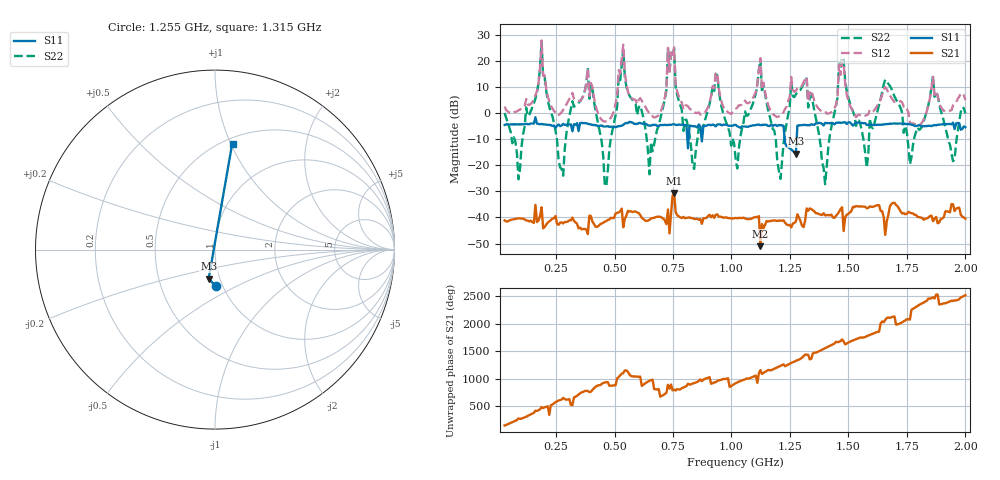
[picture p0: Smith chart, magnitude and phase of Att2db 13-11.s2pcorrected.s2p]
# Hz S DB R 50.000000
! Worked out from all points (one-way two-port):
!   300 points, 30 MHz to 2 GHz, reference 50 ohm
!   highest |S21| = -30.62 dB at 754.7 MHz (marker M1); lowest = -51.0 dB at 1.124 GHz (marker M2)
!   lowest |S11| = -15.6 dB at 1.275 GHz (marker M3), VSWR 1.40, Z = 44.3 - j14.8 ohm
!   |S11| at or under -10 dB: 811.4 MHz to 816.7 MHz (5.301 MHz wide, 0.651 % of centre); 872.3806 MHz to 874.2893 MHz (1.909 MHz wide, 0.219 % of centre); 1.228 GHz to 1.279 GHz (51.07 MHz wide, 4.08 % of centre)
!   |S22| runs from -28.0 to 27.5 dB; largest |S21 - S12| = 25
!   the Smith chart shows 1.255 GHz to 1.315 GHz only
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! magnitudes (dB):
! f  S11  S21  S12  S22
! 30 MHz  -4.5  -41.2  2.5  0.1
! 89.3 MHz  -4.3  -40.4  1.0  -25.4
! 188.1 MHz  -4.2  -36.1  27.9  27.5
! 280.4 MHz  -4.1  -42.3  1.2  -24.0
! 359.4 MHz  -3.7  -44.5  5.4  5.4
! 464.8 MHz  -5.1  -41.4  -3.1  -28.0
! 537.3 MHz  -4.5  -43.7  26.3  24.2
! 688.9 MHz  -4.9  -39.7  -0.8  -4.9
! 754.7 MHz  -4.2  -30.6  25.2  24.7
! 840.4 MHz  -5.0  -40.5  0.2  -21.4
! 932.6 MHz  -5.1  -39.0  15.4  14.9
! 1.018 GHz  -4.5  -40.2  1.6  -18.1
! 1.124 GHz  -4.6  -51.0  21.1  20.7
! 1.209 GHz  -4.6  -41.2  -0.9  -25.2
! 1.275 GHz  -15.6  -41.6  8.6  7.2
! 1.348 GHz  -4.5  -37.3  6.8  4.1
! 1.4 GHz  -3.7  -39.2  0.7  -27.3
! 1.473 GHz  -3.6  -36.1  20.1  21.5
! 1.578 GHz  -4.5  -36.5  -0.8  -20.9
! 1.677 GHz  -4.1  -35.7  6.8  10.5
! 1.763 GHz  -4.3  -38.2  -3.9  -19.6
! 2 GHz  -5.4  -40.5  5.1  -0.1
